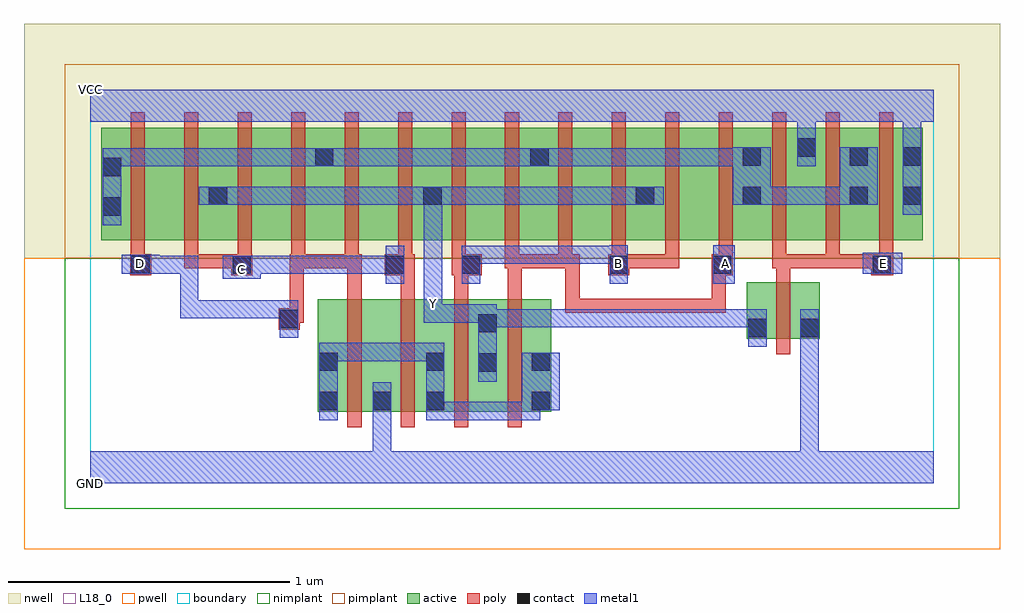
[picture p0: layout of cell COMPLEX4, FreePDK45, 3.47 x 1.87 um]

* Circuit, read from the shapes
.subckt COMPLEX4 A B C D E GND VCC Y
M1 GND D n1 VSUBS nfet w=0.4u l=0.05u
M2 n1 C GND VSUBS nfet w=0.4u l=0.05u
M3 Y B n1 VSUBS nfet w=0.4u l=0.05u
M4 n1 A Y VSUBS nfet w=0.4u l=0.05u
M5 GND E Y VSUBS nfet w=0.2u l=0.05u
M6 n2 D n3 n4 pfet w=0.4u l=0.05u
M7 Y C n2 n4 pfet w=0.4u l=0.05u
M8 n5 C Y n4 pfet w=0.4u l=0.05u
M9 n3 D n5 n4 pfet w=0.4u l=0.05u
M10 n6 D n3 n4 pfet w=0.4u l=0.05u
M11 Y C n6 n4 pfet w=0.4u l=0.05u
M12 n7 B Y n4 pfet w=0.4u l=0.05u
M13 n3 A n7 n4 pfet w=0.4u l=0.05u
M14 n8 A n3 n4 pfet w=0.4u l=0.05u
M15 Y B n8 n4 pfet w=0.4u l=0.05u
M16 n9 B Y n4 pfet w=0.4u l=0.05u
M17 n3 A n9 n4 pfet w=0.4u l=0.05u
M18 VCC E n3 n4 pfet w=0.4u l=0.05u m=3
.ends

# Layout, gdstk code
import gdstk
lib = gdstk.Library(unit=1e-6, precision=1e-09)
def R(c, l, rs):  # rectangles x0, y0, x1, y1
    for r in rs: c.add(gdstk.rectangle(r[:2], r[2:], *l))
def A(c, l, x, y, w, h, nx, ny, dx, dy):  # array of equal rectangles
    R(c, l, [(x+i*dx, y+j*dy, x+i*dx+w, y+j*dy+h) for i in range(nx) for j in range(ny)])
active = (1, 0)
pwell = (2, 0)
nwell = (3, 0)
nimplant = (4, 0)
pimplant = (5, 0)
poly = (9, 0)
contact = (10, 0)
metal1 = (11, 0)
L18_0 = (18, 0)
boundary = (235, 0)

complex4 = lib.new_cell('COMPLEX4')
R(complex4, active, [(0.81,0.255,0.885,0.655), (0.81,0.255,1.075,0.655), (1,0.255,1.265,0.655), (1,0.255,1.075,0.492), (1.19,0.255,1.45,0.655), (1.19,0.255,1.265,0.562), (1.375,0.255,1.64,0.655), (1.565,0.255,1.64,0.655), (1.375,0.345,1.45,0.607), (2.335,0.515,2.41,0.715), (2.335,0.515,2.595,0.715), (2.52,0.515,2.595,0.715), (0.04,0.865,0.265,1.265), (0.04,0.865,0.145,1.2), (0.265,0.865,0.492,1.265), (0.417,0.865,0.645,1.265), (0.645,0.865,0.87,1.265), (0.795,0.865,1.025,1.265), (1.025,0.865,1.255,1.265), (1.18,0.865,1.405,1.265), (1.405,0.865,1.635,1.265), (1.56,0.865,1.785,1.265), (1.785,0.865,2.01,1.265), (1.935,0.865,2.165,1.265), (2.165,0.865,2.39,1.265), (2.315,0.865,2.585,1.265), (2.51,0.865,2.77,1.265), (2.695,0.865,2.96,1.265), (2.885,0.865,2.96,1.255), (0.417,0.907,0.492,1.07), (0.795,0.907,0.87,1.2), (1.18,0.907,1.255,1.07), (1.56,0.907,1.635,1.2), (1.935,0.907,2.01,1.07), (2.315,0.907,2.39,1.2), (2.51,0.907,2.585,1.255), (2.695,0.907,2.77,1.2)])
R(complex4, pwell, [(-0.235,-0.235,3.235,0.8)])
R(complex4, nwell, [(-0.235,0.8,3.235,1.635)])
R(complex4, nimplant, [(-0.09,-0.09,3.09,0.8)])
R(complex4, pimplant, [(-0.09,0.8,3.09,1.49)])
A(complex4, poly, 0.915, 0.2, 0.05, 0.51, 4, 1, 0.19, 0)
A(complex4, poly, 0.145, 0.765, 0.05, 0.095, 15, 1, 0.19, 0)
A(complex4, poly, 0.145, 0.81, 0.05, 0.51, 15, 1, 0.19, 0)
R(complex4, poly, [(2.44,0.46,2.49,0.77), (0.67,0.547,0.745,0.622), (0.695,0.572,0.745,0.622), (0.695,0.572,0.76,0.622), (0.71,0.572,0.76,0.815), (1.69,0.607,1.74,0.657), (1.69,0.607,1.74,0.657), (1.69,0.607,1.74,0.657), (1.69,0.607,1.872,0.657), (1.69,0.607,1.74,0.815), (1.822,0.607,1.872,0.657), (1.822,0.607,1.872,0.657), (1.822,0.607,1.872,0.657), (1.822,0.607,2.08,0.657), (2.03,0.607,2.08,0.657), (2.03,0.607,2.26,0.657), (2.21,0.607,2.26,0.657), (2.21,0.607,2.26,0.657), (2.21,0.607,2.26,0.657), (2.21,0.607,2.26,0.657), (2.21,0.607,2.26,0.657), (2.21,0.607,2.26,0.79), (0.915,0.66,0.965,0.815), (1.105,0.66,1.155,0.79), (1.295,0.66,1.345,0.79), (1.485,0.66,1.535,0.815), (2.44,0.72,2.49,0.815), (0.142,0.74,0.217,0.815), (0.502,0.74,0.577,0.815), (1.047,0.74,1.155,0.815), (1.285,0.74,1.392,0.815), (1.842,0.74,1.917,0.815), (2.21,0.74,2.285,0.815), (2.777,0.74,2.855,0.815), (0.335,0.765,0.385,0.815), (0.335,0.765,0.552,0.815), (0.502,0.765,0.552,0.815), (0.502,0.765,0.552,0.815), (0.71,0.765,0.765,0.815), (0.715,0.765,0.765,0.815), (0.715,0.765,0.765,0.815), (0.715,0.765,0.955,0.815), (0.905,0.765,0.965,0.815), (1.475,0.765,1.535,0.815), (1.485,0.765,1.535,0.815), (1.485,0.765,1.535,0.815), (1.485,0.765,1.715,0.815), (1.665,0.765,1.74,0.815), (1.69,0.765,1.74,0.815), (1.69,0.765,1.74,0.815), (1.867,0.765,2.095,0.815), (2.045,0.765,2.095,0.815), (2.045,0.765,2.095,0.815), (2.045,0.765,2.095,0.815), (2.425,0.765,2.49,0.815), (2.44,0.765,2.49,0.815), (2.44,0.765,2.49,0.815), (2.44,0.765,2.665,0.815), (2.615,0.765,2.665,0.815), (2.615,0.765,2.827,0.815), (2.777,0.765,2.827,0.815), (2.777,0.765,2.827,0.815)])
A(complex4, contact, 0.815, 0.26, 0.065, 0.065, 3, 1, 0.19, 0)
A(complex4, contact, 1.94, 0.99, 0.065, 0.065, 3, 1, 0.38, 0)
R(complex4, contact, [(1.57,0.26,1.635,0.325), (1.38,0.397,1.445,0.462), (0.815,0.4,0.88,0.465), (1.195,0.4,1.26,0.465), (1.57,0.4,1.635,0.465), (2.34,0.52,2.405,0.585), (2.525,0.52,2.59,0.585), (1.38,0.537,1.445,0.602), (0.675,0.552,0.74,0.617), (0.147,0.745,0.212,0.81), (0.507,0.745,0.572,0.81), (1.052,0.745,1.117,0.81), (1.322,0.745,1.387,0.81), (1.847,0.745,1.912,0.81), (2.215,0.745,2.28,0.81), (2.782,0.745,2.847,0.81), (0.045,0.952,0.11,1.017), (0.422,0.99,0.487,1.055), (1.185,0.99,1.25,1.055), (2.89,0.99,2.955,1.055), (0.045,1.092,0.11,1.157), (0.8,1.127,0.865,1.192), (1.565,1.127,1.63,1.192), (2.32,1.13,2.385,1.195), (2.7,1.13,2.765,1.195), (2.89,1.13,2.955,1.195), (2.515,1.162,2.58,1.227)])
R(complex4, metal1, [(0,0,3,0.115), (1.005,0.05,1.07,0.115), (1.005,0.05,1.07,0.115), (1.005,0.05,1.07,0.29), (2.525,0.05,2.59,0.115), (2.525,0.05,2.59,0.115), (2.525,0.05,2.59,0.115), (2.525,0.05,2.59,0.115), (2.525,0.05,2.59,0.115), (2.525,0.05,2.59,0.115), (2.525,0.05,2.59,0.55), (0.815,0.225,0.88,0.5), (1.005,0.225,1.07,0.29), (1.005,0.225,1.07,0.29), (1.005,0.225,1.07,0.36), (1.195,0.225,1.26,0.5), (1.195,0.225,1.457,0.29), (1.392,0.225,1.457,0.29), (1.392,0.225,1.457,0.29), (1.392,0.225,1.457,0.29), (1.392,0.225,1.6,0.29), (1.535,0.225,1.6,0.325), (1.535,0.26,1.67,0.465), (1.535,0.26,1.6,0.325), (1.38,0.362,1.445,0.637), (0.815,0.435,0.94,0.5), (0.875,0.435,0.94,0.5), (0.875,0.435,1.077,0.5), (1.012,0.435,1.077,0.5), (1.012,0.435,1.077,0.5), (1.012,0.435,1.077,0.5), (1.012,0.435,1.077,0.5), (1.012,0.435,1.077,0.5), (1.012,0.435,1.26,0.5), (2.34,0.485,2.405,0.62), (2.525,0.485,2.59,0.55), (2.525,0.485,2.59,0.55), (2.525,0.485,2.59,0.62), (0.675,0.517,0.74,0.652), (1.38,0.555,1.595,0.62), (1.53,0.555,1.595,0.62), (1.53,0.555,1.595,0.62), (1.53,0.555,1.595,0.62), (1.53,0.555,1.737,0.62), (1.672,0.555,1.737,0.62), (1.672,0.555,1.802,0.62), (1.737,0.555,1.802,0.62), (1.737,0.555,1.9,0.62), (1.835,0.555,1.9,0.62), (1.835,0.555,2.037,0.62), (1.972,0.555,2.037,0.62), (1.972,0.555,2.037,0.62), (1.972,0.555,2.037,0.62), (1.972,0.555,2.212,0.62), (2.147,0.555,2.212,0.62), (2.147,0.555,2.212,0.62), (2.147,0.555,2.212,0.62), (2.147,0.555,2.405,0.62), (1.187,0.572,1.252,0.637), (1.187,0.572,1.252,0.637), (1.187,0.572,1.252,0.707), (1.187,0.572,1.445,0.637), (1.38,0.572,1.445,0.637), (1.38,0.572,1.445,0.637), (0.32,0.587,0.385,0.652), (0.32,0.587,0.522,0.652), (0.32,0.587,0.385,0.81), (0.457,0.587,0.522,0.652), (0.457,0.587,0.692,0.652), (0.627,0.587,0.692,0.652), (0.627,0.587,0.692,0.652), (0.627,0.587,0.692,0.652), (0.627,0.587,0.74,0.652), (1.187,0.642,1.252,1.055), (1.052,0.71,1.117,0.845), (1.322,0.71,1.387,0.845), (1.847,0.71,1.912,0.847), (2.215,0.71,2.292,0.847), (0.472,0.727,0.607,0.81), (0.112,0.745,0.247,0.812), (0.182,0.745,0.247,0.81), (0.182,0.745,0.247,0.81), (0.182,0.745,0.385,0.81), (0.32,0.745,0.385,0.81), (0.32,0.745,0.385,0.81), (0.32,0.745,0.385,0.81), (0.542,0.745,0.66,0.81), (0.595,0.745,0.66,0.81), (0.595,0.745,0.802,0.81), (0.737,0.745,0.802,0.81), (0.737,0.745,0.932,0.81), (0.867,0.745,0.932,0.81), (0.867,0.745,0.94,0.81), (0.875,0.745,0.94,0.81), (0.875,0.745,1.077,0.81), (1.012,0.745,1.077,0.81), (1.012,0.745,1.117,0.81), (2.747,0.745,2.887,0.82), (1.322,0.78,1.427,0.845), (1.362,0.78,1.427,0.845), (1.362,0.78,1.595,0.845), (1.53,0.78,1.595,0.845), (1.53,0.78,1.595,0.845), (1.53,0.78,1.595,0.845), (1.53,0.78,1.737,0.845), (1.672,0.78,1.737,0.845), (1.672,0.78,1.802,0.845), (1.737,0.78,1.802,0.845), (1.737,0.78,1.912,0.845), (0.045,0.917,0.11,1.192), (2.89,0.955,2.955,1.23), (0.387,0.99,0.522,1.055), (0.457,0.99,0.522,1.055), (0.457,0.99,0.522,1.055), (0.457,0.99,0.692,1.055), (0.627,0.99,0.692,1.055), (0.627,0.99,0.802,1.055), (0.737,0.99,0.802,1.055), (0.737,0.99,0.862,1.055), (0.797,0.99,0.862,1.055), (0.797,0.99,0.94,1.055), (0.875,0.99,0.94,1.055), (0.875,0.99,1.077,1.055), (1.012,0.99,1.077,1.055), (1.012,0.99,1.077,1.055), (1.012,0.99,1.077,1.055), (1.012,0.99,1.215,1.055), (1.15,0.99,1.285,1.055), (1.22,0.99,1.457,1.055), (1.392,0.99,1.457,1.055), (1.392,0.99,1.457,1.055), (1.392,0.99,1.457,1.055), (1.392,0.99,1.595,1.055), (1.53,0.99,1.595,1.055), (1.53,0.99,1.595,1.055), (1.53,0.99,1.595,1.055), (1.53,0.99,1.747,1.055), (1.682,0.99,1.802,1.055), (1.682,0.99,1.747,1.055), (1.737,0.99,1.802,1.055), (1.737,0.99,1.9,1.055), (1.835,0.99,1.9,1.055), (1.835,0.99,1.97,1.055), (1.905,0.99,2.04,1.055), (2.285,0.99,2.42,1.195), (2.355,0.99,2.537,1.055), (2.472,0.99,2.537,1.055), (2.472,0.99,2.557,1.055), (2.492,0.99,2.675,1.055), (2.492,0.99,2.557,1.055), (2.61,0.99,2.73,1.055), (2.61,0.99,2.675,1.055), (2.665,0.99,2.8,1.195), (0.045,1.127,0.11,1.192), (0.045,1.127,0.11,1.192), (0.045,1.127,0.247,1.192), (0.182,1.127,0.247,1.192), (0.182,1.127,0.247,1.192), (0.182,1.127,0.247,1.192), (0.182,1.127,0.385,1.192), (0.32,1.127,0.385,1.192), (0.32,1.127,0.385,1.192), (0.32,1.127,0.385,1.192), (0.32,1.127,0.522,1.192), (0.457,1.127,0.522,1.192), (0.457,1.127,0.692,1.192), (0.627,1.127,0.692,1.192), (0.627,1.127,0.745,1.192), (0.68,1.127,0.745,1.192), (0.68,1.127,0.83,1.192), (0.765,1.127,0.9,1.192), (0.835,1.127,0.94,1.192), (0.875,1.127,0.94,1.192), (0.875,1.127,1.077,1.192), (1.012,1.127,1.077,1.192), (1.012,1.127,1.077,1.192), (1.012,1.127,1.077,1.192), (1.012,1.127,1.29,1.192), (1.225,1.127,1.29,1.192), (1.225,1.127,1.457,1.192), (1.392,1.127,1.457,1.192), (1.392,1.127,1.457,1.192), (1.392,1.127,1.457,1.192), (1.392,1.127,1.595,1.192), (1.53,1.127,1.595,1.192), (1.53,1.127,1.595,1.192), (1.53,1.127,1.665,1.192), (1.6,1.127,1.747,1.192), (1.682,1.127,1.802,1.192), (1.682,1.127,1.747,1.192), (1.737,1.127,1.802,1.192), (1.737,1.127,1.885,1.192), (1.82,1.127,1.94,1.192), (1.82,1.127,1.885,1.192), (1.875,1.127,1.94,1.192), (1.875,1.127,2.075,1.192), (2.01,1.127,2.075,1.192), (2.01,1.127,2.212,1.192), (2.147,1.127,2.212,1.192), (2.147,1.127,2.212,1.192), (2.147,1.127,2.212,1.192), (2.147,1.127,2.35,1.192), (2.285,1.127,2.35,1.192), (2.285,1.127,2.35,1.192), (2.515,1.127,2.58,1.262), (2.89,1.165,2.955,1.35), (2.515,1.197,2.58,1.35), (0,1.285,3,1.4)])
R(complex4, L18_0, [(0,0,3,0.115), (1.005,0.05,1.07,0.115), (1.005,0.05,1.07,0.115), (1.005,0.05,1.07,0.29), (2.525,0.05,2.59,0.115), (2.525,0.05,2.59,0.115), (2.525,0.05,2.59,0.115), (2.525,0.05,2.59,0.115), (2.525,0.05,2.59,0.115), (2.525,0.05,2.59,0.115), (2.525,0.05,2.59,0.55), (1.005,0.225,1.07,0.29), (1.005,0.225,1.07,0.29), (1.005,0.225,1.07,0.36), (1.38,0.362,1.445,0.637), (2.34,0.485,2.405,0.62), (2.525,0.485,2.59,0.55), (2.525,0.485,2.59,0.55), (2.525,0.485,2.59,0.62), (0.675,0.517,0.74,0.652), (1.38,0.555,1.595,0.62), (1.53,0.555,1.595,0.62), (1.53,0.555,1.595,0.62), (1.53,0.555,1.595,0.62), (1.53,0.555,1.737,0.62), (1.672,0.555,1.737,0.62), (1.672,0.555,1.802,0.62), (1.737,0.555,1.802,0.62), (1.737,0.555,1.9,0.62), (1.835,0.555,1.9,0.62), (1.835,0.555,2.037,0.62), (1.972,0.555,2.037,0.62), (1.972,0.555,2.037,0.62), (1.972,0.555,2.037,0.62), (1.972,0.555,2.212,0.62), (2.147,0.555,2.212,0.62), (2.147,0.555,2.212,0.62), (2.147,0.555,2.212,0.62), (2.147,0.555,2.405,0.62), (1.187,0.572,1.252,0.637), (1.187,0.572,1.252,0.637), (1.187,0.572,1.252,0.707), (1.187,0.572,1.445,0.637), (1.38,0.572,1.445,0.637), (1.38,0.572,1.445,0.637), (0.32,0.587,0.385,0.652), (0.32,0.587,0.385,0.81), (0.32,0.587,0.522,0.652), (0.457,0.587,0.522,0.652), (0.457,0.587,0.692,0.652), (0.627,0.587,0.692,0.652), (0.627,0.587,0.692,0.652), (0.627,0.587,0.692,0.652), (0.627,0.587,0.74,0.652), (1.187,0.607,1.252,0.672), (1.187,0.642,1.252,1.055), (1.052,0.71,1.117,0.845), (1.322,0.71,1.387,0.845), (1.847,0.71,1.912,0.847), (2.215,0.71,2.292,0.847), (0.472,0.727,0.607,0.81), (0.507,0.727,0.572,0.792), (0.112,0.745,0.247,0.812), (0.182,0.745,0.247,0.81), (0.182,0.745,0.247,0.81), (0.182,0.745,0.385,0.81), (0.32,0.745,0.385,0.81), (0.32,0.745,0.385,0.81), (0.32,0.745,0.385,0.81), (0.542,0.745,0.66,0.81), (0.595,0.745,0.66,0.81), (0.595,0.745,0.802,0.81), (0.737,0.745,0.802,0.81), (0.737,0.745,0.932,0.81), (0.867,0.745,0.932,0.81), (0.867,0.745,0.94,0.81), (0.875,0.745,0.94,0.81), (0.875,0.745,1.077,0.81), (1.012,0.745,1.077,0.81), (1.012,0.745,1.117,0.81), (2.747,0.745,2.887,0.82), (0.147,0.747,0.212,0.812), (1.847,0.747,1.912,0.812), (2.227,0.747,2.292,0.812), (2.787,0.747,2.852,0.812), (1.322,0.78,1.427,0.845), (1.362,0.78,1.427,0.845), (1.362,0.78,1.595,0.845), (1.53,0.78,1.595,0.845), (1.53,0.78,1.595,0.845), (1.53,0.78,1.595,0.845), (1.53,0.78,1.737,0.845), (1.672,0.78,1.737,0.845), (1.672,0.78,1.802,0.845), (1.737,0.78,1.802,0.845), (1.737,0.78,1.912,0.845), (2.89,0.955,2.955,1.23), (0.387,0.99,0.522,1.055), (0.457,0.99,0.522,1.055), (0.457,0.99,0.522,1.055), (0.457,0.99,0.692,1.055), (0.627,0.99,0.692,1.055), (0.627,0.99,0.802,1.055), (0.737,0.99,0.802,1.055), (0.737,0.99,0.862,1.055), (0.797,0.99,0.862,1.055), (0.797,0.99,0.94,1.055), (0.875,0.99,0.94,1.055), (0.875,0.99,1.077,1.055), (1.012,0.99,1.077,1.055), (1.012,0.99,1.077,1.055), (1.012,0.99,1.077,1.055), (1.012,0.99,1.215,1.055), (1.15,0.99,1.285,1.055), (1.22,0.99,1.457,1.055), (1.392,0.99,1.457,1.055), (1.392,0.99,1.457,1.055), (1.392,0.99,1.457,1.055), (1.392,0.99,1.595,1.055), (1.53,0.99,1.595,1.055), (1.53,0.99,1.595,1.055), (1.53,0.99,1.595,1.055), (1.53,0.99,1.747,1.055), (1.682,0.99,1.747,1.055), (1.682,0.99,1.802,1.055), (1.737,0.99,1.802,1.055), (1.737,0.99,1.9,1.055), (1.835,0.99,1.9,1.055), (1.835,0.99,1.97,1.055), (1.905,0.99,2.04,1.055), (2.515,1.127,2.58,1.262), (2.89,1.165,2.955,1.35), (2.515,1.197,2.58,1.35), (0,1.285,3,1.4)])
R(complex4, boundary, [(0,0,3,1.4)])
complex4.add(gdstk.Label('A', (2.26,0.78), layer=11, texttype=0))
complex4.add(gdstk.Label('B', (1.88,0.78), layer=11, texttype=0))
complex4.add(gdstk.Label('C', (0.54,0.76), layer=11, texttype=0))
complex4.add(gdstk.Label('D', (0.18,0.78), layer=11, texttype=0))
complex4.add(gdstk.Label('E', (2.82,0.78), layer=11, texttype=0))
complex4.add(gdstk.Label('Y', (1.22,0.64), layer=11, texttype=0))
complex4.add(gdstk.Label('VCC', (0,1.4), layer=11, texttype=0))
complex4.add(gdstk.Label('GND', (0,0), layer=11, texttype=0))

lib.write_gds('COMPLEX4.gds')
